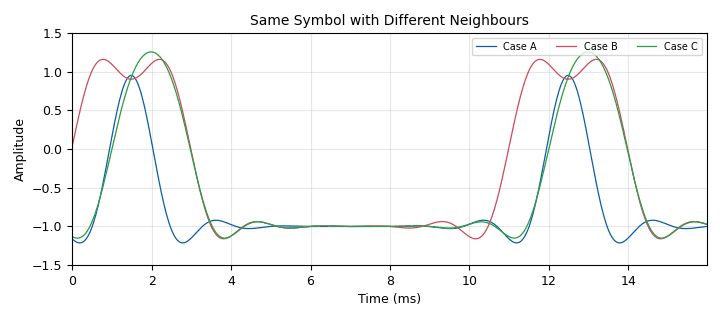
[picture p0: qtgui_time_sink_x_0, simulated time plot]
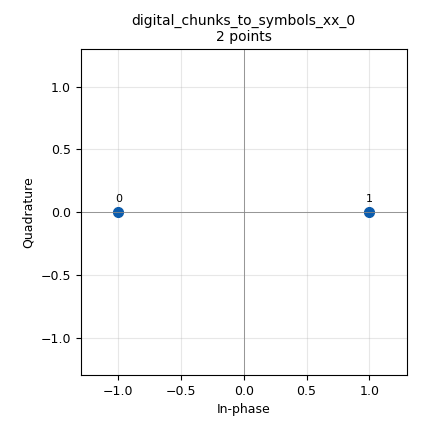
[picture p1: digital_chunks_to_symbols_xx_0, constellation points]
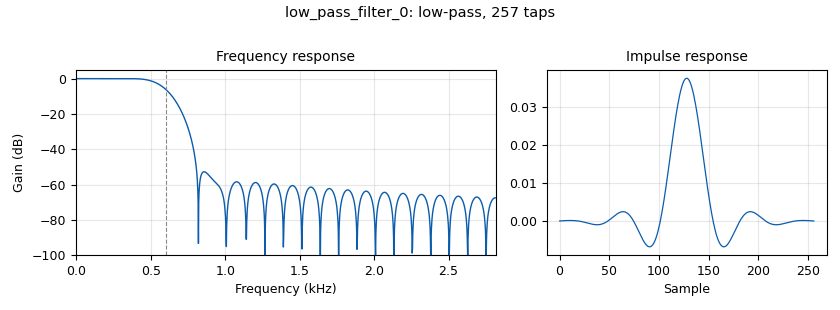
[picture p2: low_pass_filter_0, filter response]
options:
  parameters:
    author: Dhrubjun
    generate_options: qt_gui
    id: exp4
    output_language: python
    title: Intersymbol Interference
  states: {}

blocks:
- name: samp_rate
  id: variable
  parameters:
    value: '32000'
  states: {}
- name: sps
  id: variable
  parameters:
    value: int(samp_rate / symbol_rate)
  states: {}
- name: symbol_rate
  id: variable_qtgui_range
  parameters:
    label: Symbol Rate
    start: '500'
    step: '500'
    stop: '3000'
    value: '1000'
  states: {}
- name: blocks_repeat_0_0
  id: blocks_repeat
  parameters:
    interp: sps
    type: float
  states: {}
- name: blocks_repeat_0_0_0
  id: blocks_repeat
  parameters:
    interp: sps
    type: float
  states: {}
- name: blocks_repeat_0_0_1
  id: blocks_repeat
  parameters:
    interp: sps
    type: float
  states: {}
- name: blocks_throttle2_0
  id: blocks_throttle2
  parameters:
    samples_per_second: samp_rate
    type: float
  states: {}
- name: blocks_throttle2_0_0
  id: blocks_throttle2
  parameters:
    samples_per_second: samp_rate
    type: float
  states: {}
- name: blocks_throttle2_0_1
  id: blocks_throttle2
  parameters:
    samples_per_second: samp_rate
    type: float
  states: {}
- name: blocks_vector_source_x_0
  id: blocks_vector_source_x
  parameters:
    repeat: 'True'
    type: byte
    vector: (0, 0, 0, 0, 0, 1, 0, 0, 0, 0, 0)
  states: {}
- name: blocks_vector_source_x_0_0
  id: blocks_vector_source_x
  parameters:
    repeat: 'True'
    type: byte
    vector: (0, 0, 0, 0, 1, 1, 1, 0, 0, 0, 0)
  states: {}
- name: blocks_vector_source_x_0_1
  id: blocks_vector_source_x
  parameters:
    repeat: 'True'
    type: byte
    vector: (0, 0, 0, 0, 0, 1, 1, 0, 0, 0, 0)
  states: {}
- name: digital_chunks_to_symbols_xx_0
  id: digital_chunks_to_symbols_xx
  parameters:
    dimension: '1'
    in_type: byte
    out_type: float
    symbol_table: '[-1, 1]'
  states: {}
- name: digital_chunks_to_symbols_xx_0_0
  id: digital_chunks_to_symbols_xx
  parameters:
    dimension: '1'
    in_type: byte
    out_type: float
    symbol_table: '[-1, 1]'
  states: {}
- name: digital_chunks_to_symbols_xx_0_1
  id: digital_chunks_to_symbols_xx
  parameters:
    dimension: '1'
    in_type: byte
    out_type: float
    symbol_table: '[-1, 1]'
  states: {}
- name: low_pass_filter_0
  id: low_pass_filter
  parameters:
    cutoff_freq: '600'
    decim: '1'
    gain: '1'
    samp_rate: samp_rate
    type: fir_filter_fff
    width: '300'
    win: window.WIN_HAMMING
  states: {}
- name: low_pass_filter_0_0
  id: low_pass_filter
  parameters:
    cutoff_freq: '600'
    decim: '1'
    gain: '1'
    samp_rate: samp_rate
    type: fir_filter_fff
    width: '300'
    win: window.WIN_HAMMING
  states: {}
- name: low_pass_filter_0_1
  id: low_pass_filter
  parameters:
    cutoff_freq: '600'
    decim: '1'
    gain: '1'
    samp_rate: samp_rate
    type: fir_filter_fff
    width: '300'
    win: window.WIN_HAMMING
  states: {}
- name: qtgui_time_sink_x_0
  id: qtgui_time_sink_x
  parameters:
    grid: 'True'
    label1: Case A
    label2: Case B
    label3: Case C
    name: Same Symbol with Different Neighbours
    nconnections: '3'
    size: '512'
    srate: samp_rate
    type: float
    update_time: '2'
    width2: '2'
    ymax: '1.5'
    ymin: '-1.5'
  states: {}

connections:
- [blocks_repeat_0_0, '0', blocks_throttle2_0, '0']
- [blocks_repeat_0_0_0, '0', blocks_throttle2_0_0, '0']
- [blocks_repeat_0_0_1, '0', blocks_throttle2_0_1, '0']
- [blocks_throttle2_0, '0', low_pass_filter_0, '0']
- [blocks_throttle2_0_0, '0', low_pass_filter_0_0, '0']
- [blocks_throttle2_0_1, '0', low_pass_filter_0_1, '0']
- [blocks_vector_source_x_0, '0', digital_chunks_to_symbols_xx_0, '0']
- [blocks_vector_source_x_0_0, '0', digital_chunks_to_symbols_xx_0_0, '0']
- [blocks_vector_source_x_0_1, '0', digital_chunks_to_symbols_xx_0_1, '0']
- [digital_chunks_to_symbols_xx_0, '0', blocks_repeat_0_0, '0']
- [digital_chunks_to_symbols_xx_0_0, '0', blocks_repeat_0_0_0, '0']
- [digital_chunks_to_symbols_xx_0_1, '0', blocks_repeat_0_0_1, '0']
- [low_pass_filter_0, '0', qtgui_time_sink_x_0, '0']
- [low_pass_filter_0_0, '0', qtgui_time_sink_x_0, '1']
- [low_pass_filter_0_1, '0', qtgui_time_sink_x_0, '2']

metadata:
  file_format: 1
  grc_version: 3.10.12.0
